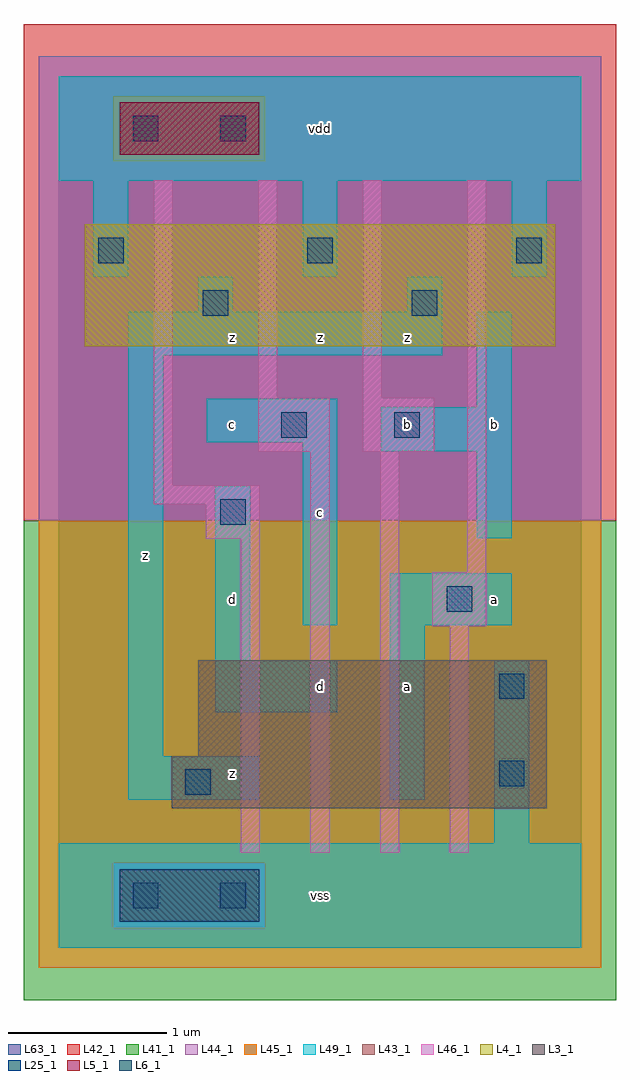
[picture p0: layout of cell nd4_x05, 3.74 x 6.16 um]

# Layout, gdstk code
import gdstk
lib = gdstk.Library(unit=1e-6, precision=1e-09)
def R(c, l, rs):  # rectangles x0, y0, x1, y1
    for r in rs: c.add(gdstk.rectangle(r[:2], r[2:], *l))
def A(c, l, x, y, w, h, nx, ny, dx, dy):  # array of equal rectangles
    R(c, l, [(x+i*dx, y+j*dy, x+i*dx+w, y+j*dy+h) for i in range(nx) for j in range(ny)])
L3_1 = (3, 1)
L4_1 = (4, 1)
L5_1 = (5, 1)
L6_1 = (6, 1)
L25_1 = (25, 1)
L41_1 = (41, 1)
L42_1 = (42, 1)
L43_1 = (43, 1)
L44_1 = (44, 1)
L45_1 = (45, 1)
L46_1 = (46, 1)
L49_1 = (49, 1)
L63_1 = (63, 1)

nd4_x05 = lib.new_cell('nd4_x05')
R(nd4_x05, L3_1, [(0.715,0.88,3.08,1.21), (0.88,1.21,3.08,1.815)])
R(nd4_x05, L4_1, [(0.165,3.795,3.135,4.565)])
R(nd4_x05, L5_1, [(0.385,5.005,1.265,5.335)])
R(nd4_x05, L6_1, [(0.385,0.165,1.265,0.495)])
A(nd4_x05, L25_1, 1.02, 0.25, 0.16, 0.16, 1, 3, 0, 2.42)
A(nd4_x05, L25_1, 0.25, 4.32, 0.16, 0.16, 3, 1, 1.32, 0)
R(nd4_x05, L25_1, [(0.47,0.25,0.63,0.41), (0.8,0.965,0.96,1.125), (2.78,1.02,2.94,1.18), (2.78,1.57,2.94,1.73), (2.45,2.12,2.61,2.28), (1.405,3.22,1.565,3.38), (2.12,3.22,2.28,3.38), (0.91,3.99,1.07,4.15), (2.23,3.99,2.39,4.15), (0.47,5.09,0.63,5.25)])
R(nd4_x05, L41_1, [(-0.22,-0.33,3.52,2.695)])
R(nd4_x05, L42_1, [(-0.22,2.695,3.52,5.83)])
R(nd4_x05, L43_1, [(0.385,0.165,1.265,0.495), (0.715,0.88,3.08,1.21), (0.88,1.21,3.08,1.815), (0.165,3.795,3.135,4.565), (0.385,5.005,1.265,5.335)])
R(nd4_x05, L44_1, [(0.345,0.125,1.305,0.535), (-0.125,2.695,3.425,4.965), (-0.125,4.965,0.345,5.375), (1.305,4.965,3.425,5.375), (-0.125,5.375,3.425,5.625)])
R(nd4_x05, L45_1, [(-0.125,-0.125,3.425,0.125), (-0.125,0.125,0.345,0.535), (1.305,0.125,3.425,0.535), (-0.125,0.535,3.425,2.695), (0.345,4.965,1.305,5.375)])
R(nd4_x05, L46_1, [(1.15,0.6,1.27,2.58), (1.59,0.6,1.71,3.13), (2.03,0.6,2.15,3.13), (2.47,0.6,2.59,2.03), (2.36,2.03,2.7,2.37), (2.58,2.37,2.7,4.845), (0.93,2.58,1.27,2.8), (0.6,2.8,1.27,2.92), (0.6,2.92,0.72,4.845), (1.26,3.13,1.71,3.47), (1.92,3.13,2.37,3.47), (1.26,3.47,1.38,4.845), (1.92,3.47,2.04,4.845)])
A(nd4_x05, L49_1, 0.22, 4.235, 0.22, 0.605, 3, 1, 1.32, 0)
R(nd4_x05, L49_1, [(0,0,3.3,0.66), (2.75,0.66,2.97,1.815), (0.44,0.935,1.265,1.21), (2.09,0.935,2.31,2.035), (0.44,1.21,0.66,3.74), (0.99,1.485,1.76,1.815), (0.99,1.815,1.21,2.915), (1.54,2.035,1.76,3.19), (2.09,2.035,2.86,2.365), (2.64,2.585,2.86,3.135), (2.035,3.135,2.86,3.41), (0.935,3.19,1.76,3.465), (2.64,3.41,2.86,4.015), (0.44,3.74,2.42,4.015), (0.88,4.015,1.1,4.235), (2.2,4.015,2.42,4.235), (0,4.84,3.3,5.5)])
R(nd4_x05, L63_1, [(0,0,3.3,5.5)])
nd4_x05.add(gdstk.Label('z', (1.1,1.1), layer=49, texttype=1))
nd4_x05.add(gdstk.Label('z', (1.1,1.1), layer=49, texttype=1))
nd4_x05.add(gdstk.Label('d', (1.1,2.2), layer=49, texttype=1))
nd4_x05.add(gdstk.Label('d', (1.1,2.2), layer=49, texttype=1))
nd4_x05.add(gdstk.Label('z', (0.55,2.475), layer=49, texttype=1))
nd4_x05.add(gdstk.Label('z', (0.55,2.475), layer=49, texttype=1))
nd4_x05.add(gdstk.Label('c', (1.1,3.3), layer=49, texttype=1))
nd4_x05.add(gdstk.Label('c', (1.1,3.3), layer=49, texttype=1))
nd4_x05.add(gdstk.Label('z', (1.1,3.85), layer=49, texttype=1))
nd4_x05.add(gdstk.Label('z', (1.1,3.85), layer=49, texttype=1))
nd4_x05.add(gdstk.Label('vss', (1.65,0.33), layer=49, texttype=1))
nd4_x05.add(gdstk.Label('vss', (1.65,0.33), layer=49, texttype=1))
nd4_x05.add(gdstk.Label('d', (1.65,1.65), layer=49, texttype=1))
nd4_x05.add(gdstk.Label('d', (1.65,1.65), layer=49, texttype=1))
nd4_x05.add(gdstk.Label('c', (1.65,2.75), layer=49, texttype=1))
nd4_x05.add(gdstk.Label('c', (1.65,2.75), layer=49, texttype=1))
nd4_x05.add(gdstk.Label('z', (1.65,3.85), layer=49, texttype=1))
nd4_x05.add(gdstk.Label('z', (1.65,3.85), layer=49, texttype=1))
nd4_x05.add(gdstk.Label('vdd', (1.65,5.17), layer=49, texttype=1))
nd4_x05.add(gdstk.Label('vdd', (1.65,5.17), layer=49, texttype=1))
nd4_x05.add(gdstk.Label('a', (2.2,1.65), layer=49, texttype=1))
nd4_x05.add(gdstk.Label('a', (2.2,1.65), layer=49, texttype=1))
nd4_x05.add(gdstk.Label('b', (2.2,3.3), layer=49, texttype=1))
nd4_x05.add(gdstk.Label('b', (2.2,3.3), layer=49, texttype=1))
nd4_x05.add(gdstk.Label('z', (2.2,3.85), layer=49, texttype=1))
nd4_x05.add(gdstk.Label('z', (2.2,3.85), layer=49, texttype=1))
nd4_x05.add(gdstk.Label('a', (2.75,2.2), layer=49, texttype=1))
nd4_x05.add(gdstk.Label('a', (2.75,2.2), layer=49, texttype=1))
nd4_x05.add(gdstk.Label('b', (2.75,3.3), layer=49, texttype=1))
nd4_x05.add(gdstk.Label('b', (2.75,3.3), layer=49, texttype=1))

lib.write_gds('nd4_x05.gds')
